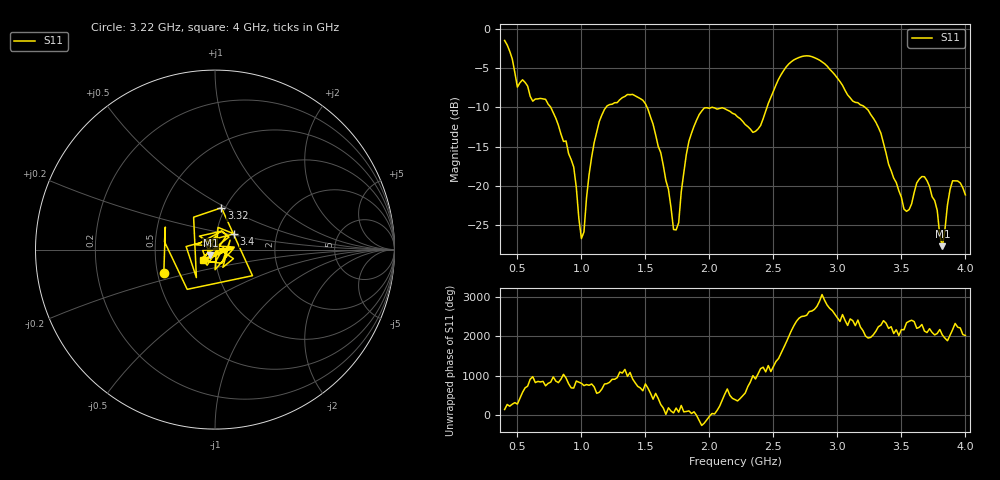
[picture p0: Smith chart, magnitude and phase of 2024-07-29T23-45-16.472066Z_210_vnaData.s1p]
!Created with skrf (http://scikit-rf.org).
# Hz S RI R 50.0
!freq ReS11 ImS11
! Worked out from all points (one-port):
!   181 points, 400 MHz to 4 GHz, reference 50 ohm
!   lowest |S11| = -27.7 dB at 3.82 GHz (marker M1), VSWR 1.09, Z = 47.4 - j3.08 ohm
!   |S11| at or under -10 dB: 761 MHz to 1.192 GHz (431.2 MHz wide, 44.2 % of centre); 1.513 GHz to 2.018 GHz (505.2 MHz wide, 28.6 % of centre); 3.216 GHz to end of sweep (the widest 3 of 4)
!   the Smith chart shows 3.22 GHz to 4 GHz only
!   S11 on the Smith chart (normalised r, x): 3.22 GHz: 0.54, -0.16; 3.32 GHz: 0.96, +0.47; 3.4 GHz: 1.21, +0.22; 4 GHz: 0.87, -0.10
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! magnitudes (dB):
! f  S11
! 400 MHz  -1.5
! 500 MHz  -7.4
! 720 MHz  -9.0
! 860 MHz  -14.3
! 940 MHz  -17.6
! 1 GHz  -26.7
! 1.14 GHz  -11.8
! 1.3 GHz  -9.0
! 1.5 GHz  -9.5
! 1.62 GHz  -15.8
! 1.72 GHz  -25.6
! 1.76 GHz  -24.7
! 1.82 GHz  -16.0
! 1.92 GHz  -10.9
! 2.2 GHz  -10.9
! 2.38 GHz  -12.8
! 2.66 GHz  -4.0
! 2.86 GHz  -4.0
! 3.1 GHz  -8.8
! 3.22 GHz  -10.0
! 3.32 GHz  -12.5
! 3.4 GHz  -17.2
! 3.56 GHz  -23.0
! 3.68 GHz  -18.8
! 3.78 GHz  -23.1
! 3.82 GHz  -27.7
! 3.9 GHz  -19.4
! 4 GHz  -21.1
